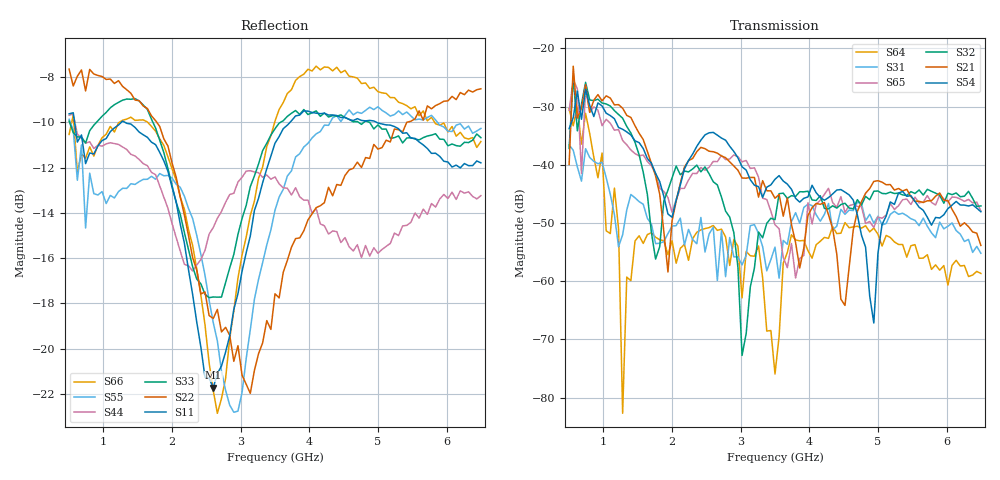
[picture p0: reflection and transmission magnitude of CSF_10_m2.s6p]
!Keysight Technologies,M9804A,MY58100912,A.14.10.03
!Date: Thursday, April 27, 2023 10:28:33
!Correction: S11(C  6-Port  )
!S12(C  6-Port  )
!S13(C  6-Port  )
!S14(C  6-Port  )
!S15(C  6-Port  )
!S16(C  6-Port  )
!S21(C  6-Port  )
!S22(C  6-Port  )
!S23(C  6-Port  )
!S24(C  6-Port  )
!S25(C  6-Port  )
!S26(C  6-Port  )
!S31(C  6-Port  )
!S32(C  6-Port  )
!S33(C  6-Port  )
!S34(C  6-Port  )
!S35(C  6-Port  )
!S36(C  6-Port  )
!S41(C  6-Port  )
!S42(C  6-Port  )
!S43(C  6-Port  )
!S44(C  6-Port  )
!S45(C  6-Port  )
!S46(C  6-Port  )
!S51(C  6-Port  )
!S52(C  6-Port  )
!S53(C  6-Port  )
!S54(C  6-Port  )
!S55(C  6-Port  )
!S56(C  6-Port  )
!S61(C  6-Port  )
!S62(C  6-Port  )
!S63(C  6-Port  )
!S64(C  6-Port  )
!S65(C  6-Port  )
!S66(C  6-Port  )
!S6P File: Measurement: :
# Hz S  RI  R 50
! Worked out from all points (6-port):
!   101 points, 500 MHz to 6.5 GHz, reference 50 ohm
!   strongest paths, dB at 500 MHz, 2 GHz, 3.5 GHz, 5 GHz, 6.5 GHz:
!     S54: -33.8, -49.0, -42.5, -55.2, -48.1
!     S21: -40.0, -49.6, -45.7, -42.7, -53.9
!     S32: -37.2, -42.3, -49.4, -44.5, -47.1
!     S65: -30.7, -48.2, -50.3, -49.0, -48.0
!     S31: -36.6, -50.5, -54.1, -48.8, -55.2
!     S64: -30.4, -53.1, -75.9, -51.9, -58.7
!   lowest |S11| = -21.7 dB at 2.6 GHz (marker M1), VSWR 1.18, Z = 42.7 + j2.01 ohm
!   |S11| at or under -10 dB: 579.7 MHz to 1.259 GHz (679.6 MHz wide, 73.9 % of centre); 1.316 GHz to 3.718 GHz (2.402 GHz wide, 95.4 % of centre); 4.983 GHz to end of sweep
